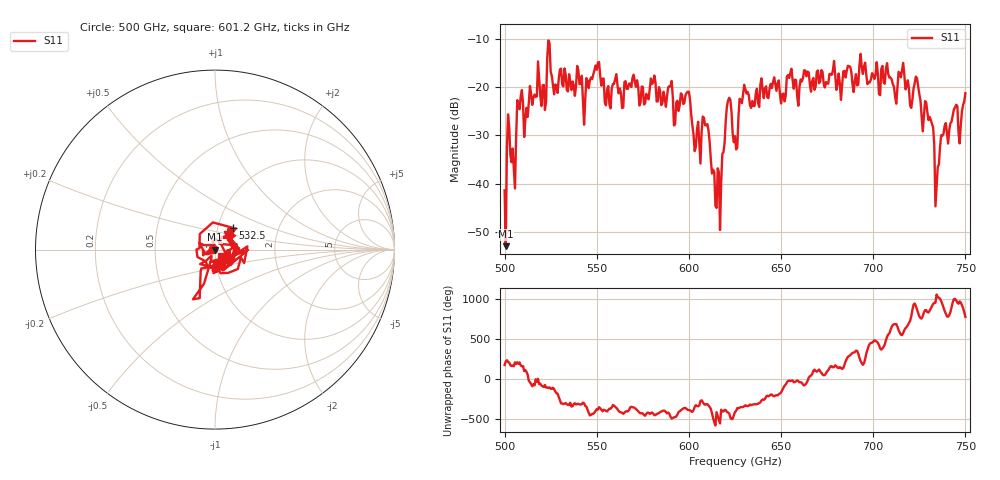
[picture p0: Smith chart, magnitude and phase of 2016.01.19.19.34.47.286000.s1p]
!Created with skrf (http://scikit-rf.org).
# GHz S RI R 50.0
!freq ReS11 ImS11
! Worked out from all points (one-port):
!   401 points, 500 GHz to 750 GHz, reference 50 ohm
!   lowest |S11| = -52.9 dB at 500.6 GHz (marker M1), VSWR 1.00, Z = 49.8 - j0.129 ohm
!   |S11| at or under -10 dB: start of sweep to end of sweep
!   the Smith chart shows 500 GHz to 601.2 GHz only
!   S11 on the Smith chart (normalised r, x): 500 GHz: 0.98, +0.00; 532.5 GHz: 1.18, +0.29; 601.2 GHz: 1.07, -0.08
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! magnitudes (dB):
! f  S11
! 500 GHz  -41.4
! 500.6 GHz  -52.9
! 502.5 GHz  -28.3
! 505 GHz  -37.0
! 508.1 GHz  -24.6
! 521.2 GHz  -19.6
! 524.4 GHz  -10.9
! 527.5 GHz  -19.5
! 531.2 GHz  -19.5
! 532.5 GHz  -16.2
! 543.8 GHz  -22.6
! 550 GHz  -16.4
! 562.5 GHz  -20.3
! 593.8 GHz  -22.8
! 601.2 GHz  -25.7
! 605 GHz  -27.2
! 609.4 GHz  -27.9
! 615.6 GHz  -36.8
! 621.2 GHz  -22.8
! 625 GHz  -30.2
! 630.6 GHz  -20.5
! 656.2 GHz  -18.6
! 687.5 GHz  -15.8
! 718.8 GHz  -18.6
! 729.4 GHz  -25.2
! 735 GHz  -36.5
! 738.1 GHz  -29.7
! 750 GHz  -21.3
